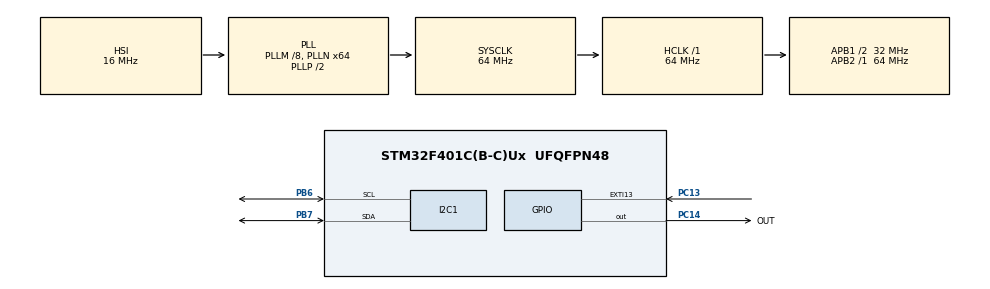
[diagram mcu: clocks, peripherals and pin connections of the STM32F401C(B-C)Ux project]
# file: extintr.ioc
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Mcu.Family=STM32F4
Mcu.Name=STM32F401C(B-C)Ux
Mcu.Package=UFQFPN48
NVIC.I2C1_EV_IRQn=true\:0\:0\:false\:false\:true\:true\:true\:true
NVIC.PriorityGroup=NVIC_PRIORITYGROUP_4
PB6.Mode=I2C
PB6.Signal=I2C1_SCL
PB7.Mode=I2C
PB7.Signal=I2C1_SDA
PC13-ANTI_TAMP.GPIO_PuPd=GPIO_PULLUP
PC13-ANTI_TAMP.Signal=GPXTI13
PC14-OSC32_IN.GPIO_Label=OUT
PC14-OSC32_IN.Signal=GPIO_Output
ProjectManager.HeapSize=0x200
ProjectManager.StackSize=0x400
ProjectManager.TargetToolchain=STM32CubeIDE
RCC.48MHZClocksFreq_Value=32000000
RCC.AHBFreq_Value=64000000
RCC.APB1CLKDivider=RCC_HCLK_DIV2
RCC.APB1Freq_Value=32000000
RCC.APB1TimFreq_Value=64000000
RCC.APB2Freq_Value=64000000
RCC.APB2TimFreq_Value=64000000
RCC.CortexFreq_Value=64000000
RCC.HCLKFreq_Value=64000000
RCC.HSE_VALUE=25000000
RCC.HSI_VALUE=16000000
RCC.LSE_VALUE=32768
RCC.PLLM=8
RCC.PLLN=64
RCC.SYSCLKFreq_VALUE=64000000
RCC.SYSCLKSource=RCC_SYSCLKSOURCE_PLLCLK
RCC.VCOOutputFreq_Value=128000000
board=custom

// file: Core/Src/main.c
/* USER CODE BEGIN Header */
/**
  ******************************************************************************
  * @file           : main.c
  * @brief          : Main program body
  ******************************************************************************
  * @attention
  *
  * Copyright (c) 2023 STMicroelectronics.
  * All rights reserved.
  *
  * This software is licensed under terms that can be found in the LICENSE file
  * in the root directory of this software component.
  * If no LICENSE file comes with this software, it is provided AS-IS.
  *
  ******************************************************************************
  */
/* USER CODE END Header */
#include "main.h"
#include "mpu6050.h"
#include "stdio.h"
#include "stm32f4xx_hal_gpio.h"
#include "stm32f4xx.h"

/* USER CODE BEGIN Includes */
int k=0;

/* USER CODE END Includes */

I2C_HandleTypeDef hi2c1;

void SystemClock_Config(void);
static void MX_GPIO_Init(void);
static void MX_I2C1_Init(void);
/* USER CODE BEGIN PFP */
int _write(int file, char *ptr, int len){
	int i = 0;
	for (i = 0; i < len; i++)
		ITM_SendChar((*ptr++));
	return len;
}
/* USER CODE END PFP */

/* USER CODE BEGIN 0 */
void HAL_GPIO_EXTI_Callback(uint16_t GPIO_Pin)
{
	 uint8_t Rec_Data[30];
		   uint16_t Accelx,Accely,Accelz,Gyrox,Gyroy,Gyroz;
		   float Ax,Ay,Az,Gx,Gy,Gz;
  if(GPIO_Pin==GPIO_PIN_13){
	  HAL_I2C_Mem_Read (&hi2c1,MPU_i2c_ADD, ACC_XOUT_H, 1, Rec_Data, 14, 1000);

	 		  Accelx = (int16_t)(Rec_Data[0] << 8 | Rec_Data [1]);
	 		  Accely = (int16_t)(Rec_Data[2] << 8 | Rec_Data [3]);
	 		  Accelz = (int16_t)(Rec_Data[4] << 8 | Rec_Data [5]);
	 		  Gyrox = (int16_t)(Rec_Data[8] << 8 | Rec_Data [9]);
	 		  Gyroy = (int16_t)(Rec_Data[10] << 8 | Rec_Data [11]);
	 		  Gyroz = (int16_t)(Rec_Data[12] << 8 | Rec_Data [13]);
	 		  Gx = Gyrox/131.0;
	 		  Gy = Gyroy/131.0;
	 		  Gz = Gyroz/131.0;
	 		  Ax=Accelx/16384.0;
	 		  Ay=Accely/16384.0;
	 		  Az=Accelz/16384.0;
	 		  printf("accelo %f %f %f\n",Ax,Ay,Az);
	 		  printf("gyro %f %f %f\n",Gx,Gy,Gz);

  }
  /* Prevent unused argument(s) compilation warning */
 UNUSED(GPIO_Pin);
  /*NOTE: This function Should not be modified, when the callback is needed,
           the HAL_GPIO_EXTI_Callback could be implemented in the user file*/

}
/* USER CODE END 0 */

int main(void)
{

  /* MCU Configuration--------------------------------------------------------*/

  /* Reset of all peripherals, Initializes the Flash interface and the Systick. */
  HAL_Init();

  /* Configure the system clock */
  SystemClock_Config();

  /* Initialize all configured peripherals */
  MX_GPIO_Init();
  MX_I2C1_Init();
  /* USER CODE BEGIN 2 */
  HAL_StatusTypeDef ret = HAL_I2C_IsDeviceReady(&hi2c1,(0x68<<1), 1, 100);
  if(ret == HAL_OK)  {
	  printf("The device is ready \n");
  }else{
	  printf("The device is not ready. Check cables,LOL\n");
  }
//wake up
  uint8_t temp_data = 0;
  ret = HAL_I2C_Mem_Write(&hi2c1,0x68<<1,107,1,&temp_data, 1, 100);
  if(ret == HAL_OK){
	  printf("Exiting from sleep mode\n");
  }else{
	  printf("Failed to exit from sleep mode\n");
  }
  uint8_t data_cfg=0x10;
  HAL_I2C_Mem_Write(&hi2c1,0x68<<1,INT_PIN_CFG,1,&data_cfg,1,100);
  uint8_t int_en=0x01;
   HAL_I2C_Mem_Write(&hi2c1,0x68<<1,INT_ENABLE,1,&int_en,1,100);

  /* USER CODE END 2 */

  /* Infinite loop */
  while (1)
  {
	  }

}

void SystemClock_Config(void)
{
  RCC_OscInitTypeDef RCC_OscInitStruct = {0};
  RCC_ClkInitTypeDef RCC_ClkInitStruct = {0};

  /** Configure the main internal regulator output voltage
  */
  __HAL_RCC_PWR_CLK_ENABLE();
  __HAL_PWR_VOLTAGESCALING_CONFIG(PWR_REGULATOR_VOLTAGE_SCALE2);

  /** Initializes the RCC Oscillators according to the specified parameters
  * in the RCC_OscInitTypeDef structure.
  */
  RCC_OscInitStruct.OscillatorType = RCC_OSCILLATORTYPE_HSI;
  RCC_OscInitStruct.HSIState = RCC_HSI_ON;
  RCC_OscInitStruct.HSICalibrationValue = RCC_HSICALIBRATION_DEFAULT;
  RCC_OscInitStruct.PLL.PLLState = RCC_PLL_ON;
  RCC_OscInitStruct.PLL.PLLSource = RCC_PLLSOURCE_HSI;
  RCC_OscInitStruct.PLL.PLLM = 8;
  RCC_OscInitStruct.PLL.PLLN = 64;
  RCC_OscInitStruct.PLL.PLLP = RCC_PLLP_DIV2;
  RCC_OscInitStruct.PLL.PLLQ = 4;
  if (HAL_RCC_OscConfig(&RCC_OscInitStruct) != HAL_OK)
  {
    Error_Handler();
  }

  /** Initializes the CPU, AHB and APB buses clocks
  */
  RCC_ClkInitStruct.ClockType = RCC_CLOCKTYPE_HCLK|RCC_CLOCKTYPE_SYSCLK
                              |RCC_CLOCKTYPE_PCLK1|RCC_CLOCKTYPE_PCLK2;
  RCC_ClkInitStruct.SYSCLKSource = RCC_SYSCLKSOURCE_PLLCLK;
  RCC_ClkInitStruct.AHBCLKDivider = RCC_SYSCLK_DIV1;
  RCC_ClkInitStruct.APB1CLKDivider = RCC_HCLK_DIV2;
  RCC_ClkInitStruct.APB2CLKDivider = RCC_HCLK_DIV1;

  if (HAL_RCC_ClockConfig(&RCC_ClkInitStruct, FLASH_LATENCY_2) != HAL_OK)
  {
    Error_Handler();
  }
}

static void MX_I2C1_Init(void)
{

  hi2c1.Instance = I2C1;
  hi2c1.Init.ClockSpeed = 100000;
  hi2c1.Init.DutyCycle = I2C_DUTYCYCLE_2;
  hi2c1.Init.OwnAddress1 = 0;
  hi2c1.Init.AddressingMode = I2C_ADDRESSINGMODE_7BIT;
  hi2c1.Init.DualAddressMode = I2C_DUALADDRESS_DISABLE;
  hi2c1.Init.OwnAddress2 = 0;
  hi2c1.Init.GeneralCallMode = I2C_GENERALCALL_DISABLE;
  hi2c1.Init.NoStretchMode = I2C_NOSTRETCH_DISABLE;
  if (HAL_I2C_Init(&hi2c1) != HAL_OK)
  {
    Error_Handler();
  }

}

static void MX_GPIO_Init(void)
{
  GPIO_InitTypeDef GPIO_InitStruct = {0};

  /* GPIO Ports Clock Enable */
  __HAL_RCC_GPIOC_CLK_ENABLE();
  __HAL_RCC_GPIOB_CLK_ENABLE();

  /*Configure GPIO pin Output Level */
  HAL_GPIO_WritePin(OUT_GPIO_Port, OUT_Pin, GPIO_PIN_RESET);

  /*Configure GPIO pin : PC13 */
  GPIO_InitStruct.Pin = GPIO_PIN_13;
  GPIO_InitStruct.Mode = GPIO_MODE_IT_RISING;
  GPIO_InitStruct.Pull = GPIO_PULLUP;
  HAL_GPIO_Init(GPIOC, &GPIO_InitStruct);
  HAL_NVIC_SetPriority(EXTI15_10_IRQn,0,0);

  /*Configure GPIO pin : OUT_Pin */
  GPIO_InitStruct.Pin = OUT_Pin;
  GPIO_InitStruct.Mode = GPIO_MODE_OUTPUT_PP;
  GPIO_InitStruct.Pull = GPIO_NOPULL;
  GPIO_InitStruct.Speed = GPIO_SPEED_FREQ_LOW;
  HAL_GPIO_Init(OUT_GPIO_Port, &GPIO_InitStruct);

  HAL_NVIC_EnableIRQ(EXTI15_10_IRQn);

}

/* USER CODE BEGIN 4 */

void EXTI15_10_IRQHandler(void) {
 //_HAL_GPIO_EXTI_CLEAR_IT(GPIO_PIN_13);
	HAL_NVIC_ClearPendingIRQ(EXTI15_10_IRQn);
 HAL_GPIO_EXTI_Callback(GPIO_PIN_13);

 }

/* USER CODE END 4 */

void Error_Handler(void)
{
  __disable_irq();
  while (1)
  {
  }
}
